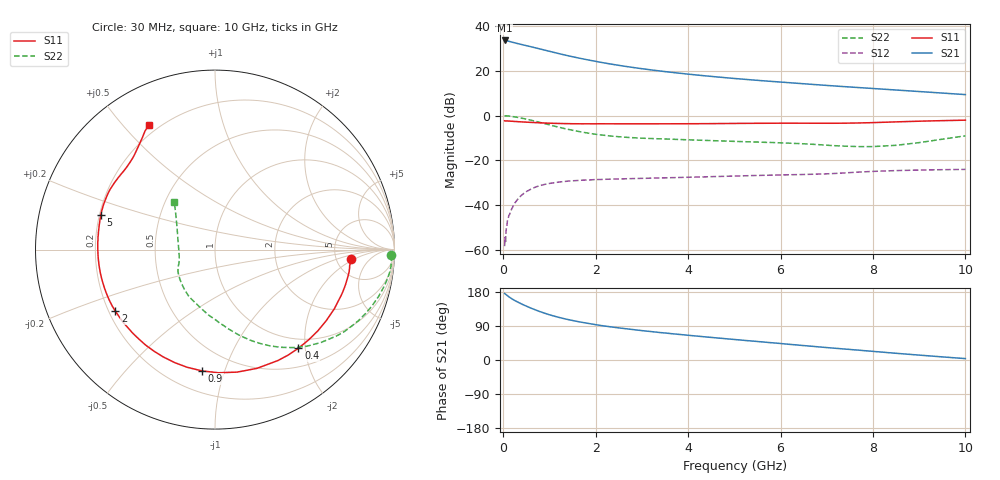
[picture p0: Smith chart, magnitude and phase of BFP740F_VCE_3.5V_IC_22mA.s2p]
! Infineon Technologies  Discrete & RF Semiconductors
! BFP740F
! VCE =  3.5 V,  IC =  22 mA
! Common Emitter S-Parameters:  Oct 2012
# GHz  S  MA  R  50
!  f  S11  S21  S12  S22
! GHz  MAG  ANG  MAG  ANG  MAG  ANG  MAG  ANG
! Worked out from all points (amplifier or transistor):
!   99 points, 30 MHz to 10 GHz, reference 50 ohm
!   highest |S21| = 33.5 dB at 30 MHz (marker M1)
!   |S21| within 3 dB of that: start of sweep to 639.2 MHz
!   unconditionally stable (mu >= 1): 5.769 GHz to end of sweep
!   at 350 MHz: K = 0.16, MSG = 34.2 dB, |S12| = -36.5 dB
!   at 3.5 GHz: K = 0.70, MSG = 23.8 dB, |S12| = -27.9 dB
!   at 10 GHz: K = 1.19, MAG = 14.1 dB, |S12| = -24.1 dB
!   S11 on the Smith chart (normalised r, x): 30 MHz: 6.86, -1.71; 400 MHz: 0.82, -1.87; 900 MHz: 0.33, -0.84; 2 GHz: 0.23, -0.27; 5 GHz: 0.21, +0.14; 10 GHz: 0.16, +0.59
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0.03  0.7589 -4.0  47.59 175.7  0.0012 86.2  0.9835 -1.9
0.05  0.7555 -6.6  47.5 173.8  0.0014 92.0  0.9842 -3.7
0.11  0.7531 -14.8  46.02 167.9  0.0051 80.2  0.9767 -9.0
0.2  0.7422 -26.3  43.39 160.5  0.0088 77.1  0.9485 -15.9
0.3  0.7303 -38.3  40.82 153.8  0.0129 71.6  0.9121 -22.9
0.4  0.7197 -49.8  38.58 147.7  0.0166 66.1  0.8715 -29.4
0.6  0.7016 -70.6  34.47 136.9  0.0226 56.8  0.7853 -41.2
0.8  0.6864 -88.4  30.68 127.5  0.0272 49.3  0.6987 -51.4
0.9  0.6798 -96.1  28.9 123.3  0.0289 46.2  0.6567 -56.0
1.1  0.6684 -109.7  25.69 115.9  0.0314 40.9  0.5813 -64.2
1.3  0.6601 -121.0  22.92 109.6  0.0333 36.8  0.518 -71.4
1.5  0.6545 -130.4  20.59 104.3  0.0347 33.8  0.4671 -77.7
1.7  0.6518 -138.4  18.63 99.5  0.0358 31.6  0.426 -83.5
2  0.6523 -148.2  16.25 93.3  0.037 28.7  0.3812 -91.8
2.6  0.6516 -162.7  12.74 83.3  0.0384 25.5  0.3295 -105.4
3.4  0.6523 -176.3  9.863 72.4  0.0402 23.9  0.3009 -117.9
4.2  0.6555 172.7  8.017 63.0  0.0421 23.4  0.2818 -126.4
5  0.6644 163.1  6.727 54.2  0.0444 23.3  0.2641 -134.9
5.1  0.6661 162.0  6.596 53.1  0.0446 23.3  0.262 -136.2
6.7  0.6718 144.3  4.949 36.0  0.0486 23.6  0.227 -154.7
8.5  0.7203 126.0  3.714 17.7  0.0587 21.4  0.2155 163.7
10  0.7868 117.7  2.932 3.7  0.0624 16.5  0.3511 130.3
